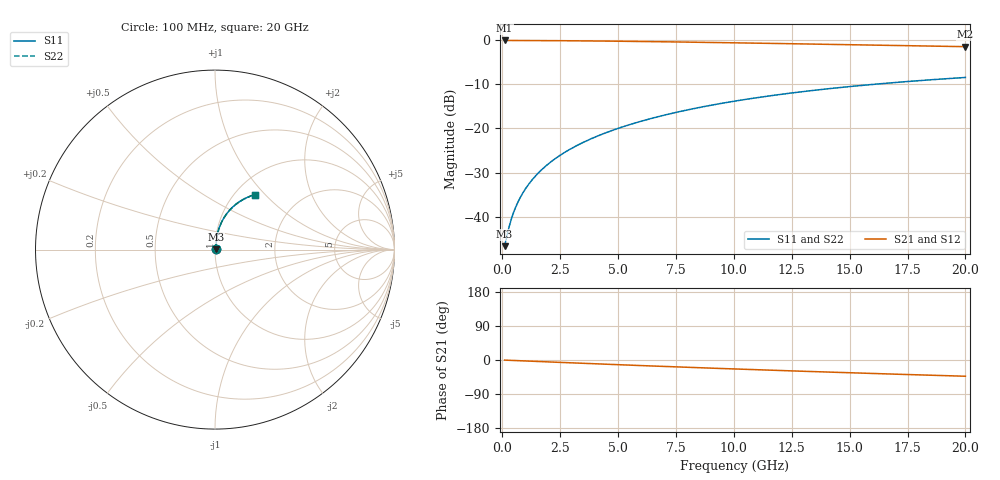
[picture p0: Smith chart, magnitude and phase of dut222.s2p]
! Touchstone file exported from HFSS 2024.1.0
!  File:  C:/UserFiles/LocalFiles/RDL_TSV_Batchsim/temp_RDL_bottom_222_1778700495.aedt
!  Generated:  03:30:21 AM May 14, 2026
!  Design:  RDL_bottom
!  Project:  temp_RDL_bottom_222_1778700495
!  Setup:  Setup1
!  Solution:  Sweep
! Variables:
!  dtsv = 10.80580581um
!  hbump = 3um
!  htsv = 73.64um
!  ldown = 628.04um
!  lrdl = 100um
!  p = 40
!  p1 = 42.03um
!  rhole = 1um
!  t = 450um
!  tdown = 3.04um
!  trdl = 3.915915916um
!  wdown = 18.78um
!  wrdl = 20um
# GHz S MA R 50.000000
! Terminal data exported
! Port[1] = RDL1_T1
! Port[2] = RDL1_T2
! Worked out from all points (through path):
!   200 points, 100 MHz to 20 GHz, reference 50 ohm
!   highest |S21| = -0.04 dB at 100 MHz (marker M1); lowest = -1.4 dB at 20 GHz (marker M2)
!   group delay of S21, straight-line fit = 5.93 ps
!   lowest |S11| = -46.7 dB at 100 MHz (marker M3), VSWR 1.01, Z = 50.4 + j0.221 ohm
!   |S11| at or under -10 dB: start of sweep to 16.01 GHz
!   |S22| runs from -46.7 to -8.4 dB; largest |S21 - S12| = 4.1e-15
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0.1  0.004625 28.3  0.9959 -0.3  0.9959 -0.3  0.004625 28.3
! Gamma 0 0 0 0
! Port Impedance 50 0 50 0
0.3  0.007761 55.5  0.9956 -0.8  0.9956 -0.8  0.007761 55.5
0.4  0.009566 61.3  0.9953 -1.1  0.9953 -1.1  0.009566 61.3
0.5  0.01139 65.3  0.9951 -1.3  0.9951 -1.3  0.01139 65.3
0.6  0.01323 68.2  0.9949 -1.6  0.9949 -1.6  0.01323 68.2
0.8  0.01693 72.1  0.9945 -2.1  0.9945 -2.1  0.01693 72.1
1  0.02067 74.7  0.9941 -2.6  0.9941 -2.6  0.02067 74.7
1.2  0.02445 76.6  0.9937 -3.1  0.9937 -3.1  0.02445 76.6
1.4  0.02827 77.9  0.9932 -3.6  0.9932 -3.6  0.02827 77.9
1.7  0.03404 79.3  0.9925 -4.3  0.9925 -4.3  0.03404 79.3
2.2  0.04378 80.5  0.9909 -5.6  0.9909 -5.6  0.04379 80.5
2.8  0.05563 81.2  0.9886 -7.1  0.9886 -7.1  0.05563 81.2
3.5  0.06964 81.3  0.9853 -8.8  0.9853 -8.8  0.06964 81.3
4.2  0.08382 81.0  0.9815 -10.5  0.9815 -10.5  0.08383 81.0
5  0.1002 80.3  0.9765 -12.4  0.9765 -12.4  0.1002 80.3
5.9  0.1188 79.3  0.9703 -14.5  0.9703 -14.5  0.1188 79.3
6.8  0.1375 78.0  0.9635 -16.6  0.9635 -16.6  0.1375 78.0
8.4  0.1708 75.4  0.9506 -20.1  0.9506 -20.1  0.1708 75.4
10.1  0.2055 72.4  0.936 -23.8  0.936 -23.8  0.2055 72.3
13.4  0.2697 66.1  0.9064 -30.5  0.9064 -30.5  0.2697 66.1
16.7  0.3278 59.9  0.8763 -36.9  0.8763 -36.9  0.3278 59.9
20  0.3789 53.9  0.8467 -42.9  0.8467 -42.9  0.3789 53.9
